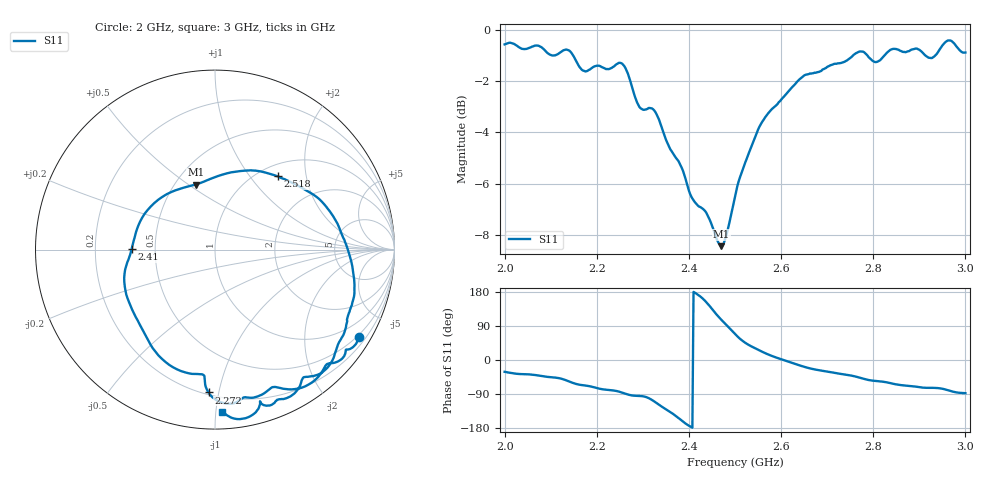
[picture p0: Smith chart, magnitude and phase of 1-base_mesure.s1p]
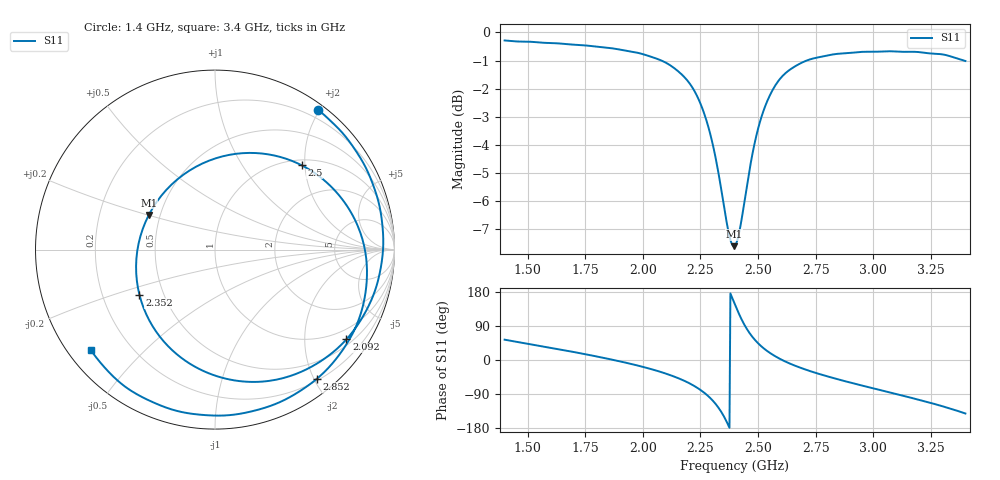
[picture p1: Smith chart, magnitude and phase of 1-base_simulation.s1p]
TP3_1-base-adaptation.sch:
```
<Qucs Schematic 0.0.19>
<Properties>
  <View=-59,-349,1599,3030,0.909092,0,0>
  <Grid=10,10,1>
  <DataSet=TP3_1-base-adaptation.dat>
  <DataDisplay=TP3_1-base-adaptation.sch>
  <OpenDisplay=1>
  <Script=TP3_1-base-adaptation.m>
  <RunScript=0>
  <showFrame=0>
  <FrameText0=Titre>
  <FrameText1=Auteur :>
  <FrameText2=Date :>
  <FrameText3=Version :>
</Properties>
<Symbol>
</Symbol>
<Components>
  <GND * 1 880 80 0 0 0 0>
  <MLIN MS1 1 770 20 -26 15 0 0 "Subst1" 1 "2.78892 mm" 1 "L" 1 "Hammerstad" 0 "Kirschning" 0 "26.85" 0>
  <GND * 1 700 80 0 0 0 0>
  <Pac P1 1 700 50 -94 -26 1 1 "1" 1 "50 Ohm" 1 "0 dBm" 0 "1 GHz" 0 "26.85" 0>
  <GND * 1 880 240 0 0 0 0>
  <SPfile X2 1 880 180 -26 -67 0 0 "1-base_mesure.s1p" 1 "rectangular" 0 "linear" 0 "open" 0 "1" 0>
  <MLIN MS2 1 770 180 -26 15 0 0 "Subst1" 1 "2.78892 mm" 1 "L" 1 "Hammerstad" 0 "Kirschning" 0 "26.85" 0>
  <GND * 1 700 240 0 0 0 0>
  <Pac P2 1 700 210 -94 -26 1 1 "2" 1 "50 Ohm" 1 "0 dBm" 0 "1 GHz" 0 "26.85" 0>
  <SPfile X1 1 880 20 -26 -67 0 0 "1-base_simulation.s1p" 1 "rectangular" 0 "linear" 0 "open" 0 "1" 0>
  <.SP SP1 1 460 -80 0 79 0 0 "lin" 1 "2 GHz" 1 "3 GHz" 1 "400" 1 "no" 0 "1" 0 "2" 0 "no" 0 "no" 0>
  <SUBST Subst1 1 320 120 -30 24 0 0 "9.8" 1 "1.55 mm" 1 "35 um" 1 "0.02" 1 "16.78e-9" 1 "0.15e-6" 1>
  <Eqn Eqn2 1 460 260 -31 19 0 0 "S11_Simulation_adaptation=S[1,1]" 1 "S11_Mesure_adaptation=S[2,2]" 1 "dB_S11_Simulation_adaptation=dB(S11_Simulation_adaptation)" 1 "dB_S11_Mesure_adaptation=dB(S11_Mesure_adaptation)" 1 "x=0.37 " 1 "L=x*33.242m" 1 "yes" 0>
</Components>
<Wires>
  <880 50 880 80 "" 0 0 0 "">
  <800 20 850 20 "" 0 0 0 "">
  <700 20 740 20 "" 0 0 0 "">
  <880 210 880 240 "" 0 0 0 "">
  <800 180 850 180 "" 0 0 0 "">
  <700 180 740 180 "" 0 0 0 "">
</Wires>
<Diagrams>
  <Smith 260 1020 400 400 3 #c0c0c0 3 00 1 0 1 1 1 0 4 1 1 0 1 1 315 0 225 " " "" "" "">
	<"TP3_1-base:S11_Mesure" #55ff00 2 3 0 0 0>
	  <Mkr 2.47118e+09 -286 -404 4 0 0>
	<"TP3_1-base:S11_Simulation" #ff00ff 2 3 0 0 0>
	  <Mkr 2.35589e+09 -309 -43 4 0 0>
	<"S11_Mesure_adaptation" #0000ff 2 3 0 0 0>
	  <Mkr 2.401e+09 368 -37 4 0 0>
	<"S11_Simulation_adaptation" #ff0000 2 3 0 0 0>
	  <Mkr 2.401e+09 431 -466 4 0 0>
  </Smith>
  <Rect 1020 1016 477 328 3 #c0c0c0 3 00 1 2e+09 1e+08 3e+09 1 -10.835 2 0.840683 1 -1 0.5 1 315 0 225 "Fréquence (Hz)" "" "" "">
	<"TP3_1-base:dB_S11_Mesure" #55ff00 2 3 0 0 0>
	  <Mkr 2.47118e+09 254 -123 4 0 0>
	<"TP3_1-base:dB_S11_Simulation" #ff00ff 2 3 0 0 0>
	  <Mkr 2.35589e+09 277 -188 4 0 0>
	<"dB_S11_Mesure_adaptation" #0000ff 2 3 0 0 0>
	  <Mkr 2.401e+09 239 -61 4 0 0>
	<"dB_S11_Simulation_adaptation" #ff0000 2 3 0 0 0>
	  <Mkr 2.401e+09 113 -527 4 0 0>
  </Rect>
  <Smith 260 1680 400 400 3 #c0c0c0 3 00 1 0 1 1 1 0 4 1 1 0 1 1 315 0 225 " " "" "" "">
	<"TP3_1-base:S11_Mesure" #55ff00 2 3 0 0 0>
	  <Mkr 2.47118e+09 -196 -484 4 0 0>
	<"S11_Mesure_adaptation" #0000ff 2 3 0 0 0>
	  <Mkr 2.41103e+09 -242 -37 4 0 0>
  </Smith>
  <Smith 250 2300 400 400 3 #c0c0c0 3 00 1 0 1 1 1 0 4 1 1 0 1 1 315 0 225 " " "" "" "">
	<"TP3_1-base:S11_Simulation" #ff00ff 2 3 0 0 0>
	  <Mkr 2.39348e+09 -239 -483 4 0 0>
	<"S11_Simulation_adaptation" #ff0000 2 3 0 0 0>
	  <Mkr 2.37594e+09 -259 -36 4 0 0>
  </Smith>
  <Rect 1010 2296 477 328 3 #c0c0c0 3 00 1 2e+09 1e+08 3e+09 1 -17.1512 5 1.41488 1 -1 0.5 1 315 0 225 "Fréquence (Hz)" "" "" "">
	<"TP3_1-base:dB_S11_Simulation" #ff00ff 2 3 0 0 0>
	  <Mkr 2.39348e+09 207 -148 4 0 0>
	<"dB_S11_Simulation_adaptation" #ff0000 2 3 0 0 0>
	  <Mkr 2.37594e+09 213 -77 4 0 0>
  </Rect>
  <Rect 890 1676 477 328 3 #c0c0c0 3 00 1 2e+09 1e+08 3e+09 1 -17.1512 5 1.41488 1 -1 0.5 1 315 0 225 "Fréquence (Hz)" "" "" "">
	<"TP3_1-base:dB_S11_Mesure" #55ff00 2 3 0 0 0>
	  <Mkr 2.47118e+09 274 -253 4 0 0>
	<"dB_S11_Mesure_adaptation" #0000ff 2 3 0 0 0>
	  <Mkr 2.41103e+09 229 -71 4 0 0>
	  <Mkr 2.44612e+09 278 -191 4 0 0>
	  <Mkr 2.37845e+09 227 -133 4 0 0>
  </Rect>
  <Smith 240 2950 400 400 3 #c0c0c0 3 00 1 0 1 1 1 0 4 1 1 0 1 1 315 0 225 " " "" "" "">
	<"TP3_1-base:S11_Mesure" #55ff00 2 3 0 0 0>
	<"S11_Mesure_adaptation" #0000ff 2 3 0 0 0>
  </Smith>
  <Rect 870 2946 477 328 3 #c0c0c0 3 00 1 2e+09 1e+08 3e+09 1 -17.1512 5 1.41488 1 -1 0.5 1 315 0 225 "Fréquence (Hz)" "" "" "">
	<"TP3_1-base:dB_S11_Mesure" #55ff00 2 3 0 0 0>
	<"dB_S11_Mesure_adaptation" #0000ff 2 3 0 0 0>
  </Rect>
</Diagrams>
<Paintings>
</Paintings>
```
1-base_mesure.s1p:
! ZVRE, 3.52
! symbol freq-unit parameter-type data-format keyword impedance-ohm
#  HZ  S  RI  R  50
! freq  reS11  imS11
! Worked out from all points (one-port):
!   401 points, 2 GHz to 3 GHz, reference 50 ohm
!   lowest |S11| = -8.4 dB at 2.47 GHz (marker M1), VSWR 2.22, Z = 31.5 + j26.7 ohm
!   |S11| at or under -10 dB: nowhere
!   S11 on the Smith chart (normalised r, x): 2 GHz: 0.44, -3.54; 2.272 GHz: 0.21, -0.93; 2.41 GHz: 0.37, +0.00; 2.518 GHz: 1.20, +1.38; 3 GHz: 0.10, -1.04
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2e9  0.8026 -0.4852
2.1225e9  0.5929 -0.6859
2.2725e9  -0.0362 -0.796
2.305e9  -0.0853 -0.6942
2.335e9  -0.3147 -0.5901
2.38e9  -0.4991 -0.2271
2.41e9  -0.4647 0.00251
2.4375e9  -0.3914 0.2007
2.47e9  -0.1078 0.3623
2.5175e9  0.3482 0.4084
2.5775e9  0.6823 0.145
2.6675e9  0.7548 -0.3289
2.845e9  0.4145 -0.8206
3e9  0.0384 -0.9034
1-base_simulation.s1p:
#  Hz  S  RI  R  50
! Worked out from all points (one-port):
!   501 points, 1.4 GHz to 3.4 GHz, reference 50 ohm
!   lowest |S11| = -7.6 dB at 2.396 GHz (marker M1), VSWR 2.43, Z = 21.6 + j10.1 ohm
!   |S11| at or under -10 dB: nowhere
!   S11 on the Smith chart (normalised r, x): 1.4 GHz: 0.08, +1.98; 2.092 GHz: 0.66, -3.11; 2.352 GHz: 0.36, -0.24; 2.5 GHz: 1.12, +1.92; 2.852 GHz: 0.23, -2.04; 3.4 GHz: 0.07, -0.35
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1.4e9  0.5741 0.7791
1.78e9  0.9257 0.1916
2.068e9  0.7781 -0.4433
2.092e9  0.7325 -0.4997
2.256e9  0.1074 -0.7285
2.352e9  -0.4208 -0.2524
2.396e9  -0.3685 0.1935
2.448e9  0.0423 0.5196
2.5e9  0.4822 0.4701
2.596e9  0.8264 0.0391
2.736e9  0.7672 -0.4667
2.852e9  0.5666 -0.7206
3.148e9  -0.1152 -0.9165
3.4e9  -0.6934 -0.5572
